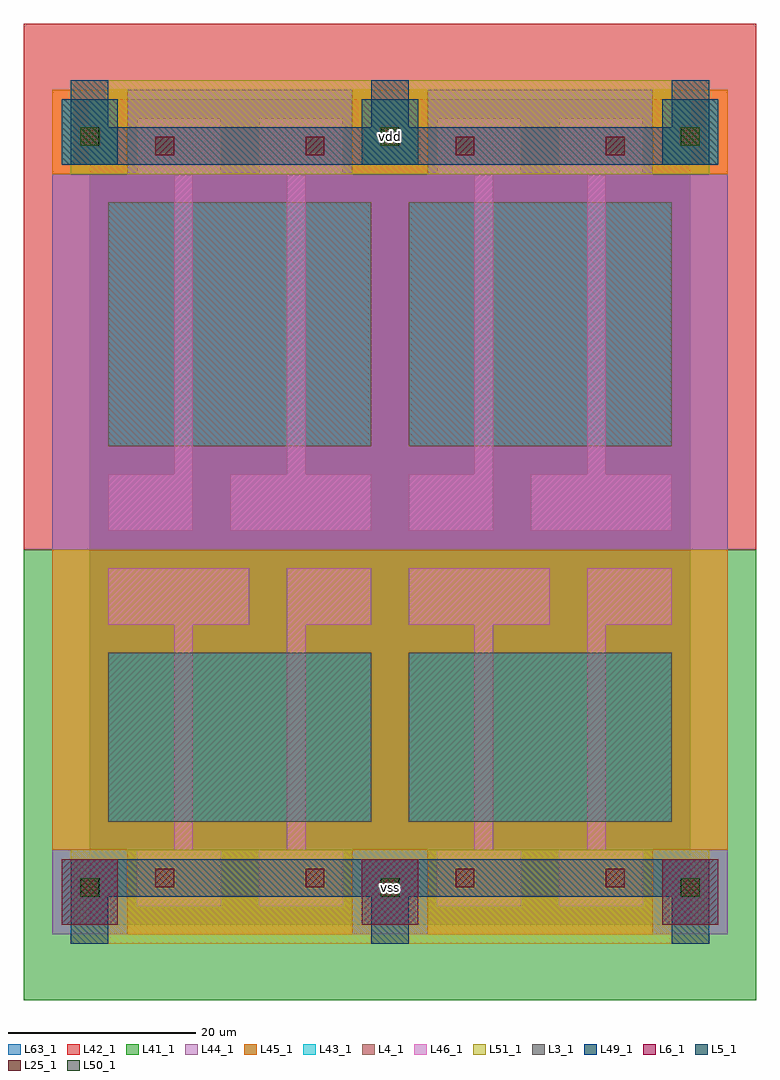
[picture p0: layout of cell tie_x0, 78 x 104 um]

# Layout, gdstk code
import gdstk
lib = gdstk.Library(unit=1e-6, precision=1e-09)
def R(c, l, rs):  # rectangles x0, y0, x1, y1
    for r in rs: c.add(gdstk.rectangle(r[:2], r[2:], *l))
def A(c, l, x, y, w, h, nx, ny, dx, dy):  # array of equal rectangles
    R(c, l, [(x+i*dx, y+j*dy, x+i*dx+w, y+j*dy+h) for i in range(nx) for j in range(ny)])
L3_1 = (3, 1)
L4_1 = (4, 1)
L5_1 = (5, 1)
L6_1 = (6, 1)
L25_1 = (25, 1)
L41_1 = (41, 1)
L42_1 = (42, 1)
L43_1 = (43, 1)
L44_1 = (44, 1)
L45_1 = (45, 1)
L46_1 = (46, 1)
L49_1 = (49, 1)
L50_1 = (50, 1)
L51_1 = (51, 1)
L63_1 = (63, 1)

tie_x0 = lib.new_cell('tie_x0')
R(tie_x0, L3_1, [(2,11,30,29), (34,11,62,29)])
R(tie_x0, L4_1, [(2,51,30,77), (34,51,62,77)])
A(tie_x0, L5_1, -3, 81, 6, 7, 3, 1, 32, 0)
R(tie_x0, L6_1, [(-3,0,3,7), (-3,0,3,7), (29,0,35,7), (29,0,35,7), (61,0,67,7), (61,0,67,7)])
A(tie_x0, L25_1, -1, 3, 2, 2, 3, 2, 32, 80)
A(tie_x0, L25_1, 7, 4, 2, 2, 4, 2, 16, 78)
R(tie_x0, L41_1, [(-7,-8,71,40)])
R(tie_x0, L42_1, [(-7,40,71,96)])
A(tie_x0, L43_1, -3, 0, 6, 7, 3, 2, 32, 81)
R(tie_x0, L43_1, [(2,11,30,29), (34,11,62,29), (2,51,30,77), (34,51,62,77)])
A(tie_x0, L44_1, -4, -1, 8, 9, 3, 1, 32, 0)
R(tie_x0, L44_1, [(-4,40,68,80), (4,80,28,89), (36,80,60,89)])
A(tie_x0, L45_1, -4, 80, 8, 9, 3, 1, 32, 0)
R(tie_x0, L45_1, [(4,-1,28,8), (36,-1,60,8), (-4,8,68,40)])
R(tie_x0, L46_1, [(5,2,14,8), (18,2,27,8), (37,2,46,8), (50,2,59,8), (9,8,11,32), (21,8,23,32), (41,8,43,32), (53,8,55,32), (2,32,17,38), (21,32,30,38), (34,32,49,38), (53,32,62,38), (2,42,11,48), (15,42,30,48), (34,42,43,48), (47,42,62,48), (9,48,11,80), (21,48,23,80), (41,48,43,80), (53,48,55,80), (5,80,14,86), (18,80,27,86), (37,80,46,86), (50,80,59,86)])
A(tie_x0, L49_1, -2, -2, 4, 5, 3, 2, 32, 87)
R(tie_x0, L49_1, [(-2,3,66,7), (-2,81,66,85)])
A(tie_x0, L50_1, -1, 3, 2, 2, 3, 2, 32, 80)
R(tie_x0, L51_1, [(-2,-2,66,8), (-2,80,66,90)])
R(tie_x0, L63_1, [(0,0,64,88)])
tie_x0.add(gdstk.Label('vss', (32,4), layer=51, texttype=1))
tie_x0.add(gdstk.Label('vdd', (32,84), layer=51, texttype=1))

lib.write_gds('tie_x0.gds')
